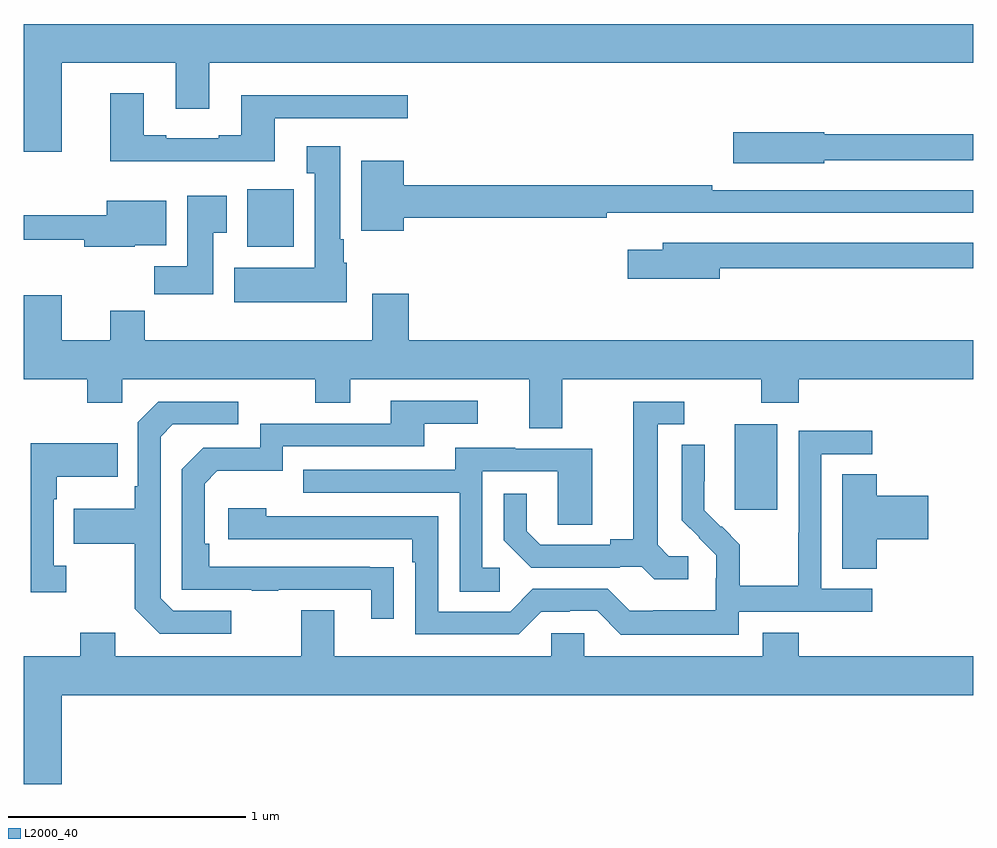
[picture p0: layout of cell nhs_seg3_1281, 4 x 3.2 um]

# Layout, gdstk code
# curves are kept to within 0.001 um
import gdstk
lib = gdstk.Library(unit=1e-6, precision=1e-09)
def R(c, l, rs):  # rectangles x0, y0, x1, y1
    for r in rs: c.add(gdstk.rectangle(r[:2], r[2:], *l))
def P(c, l, *ps):  # polygons
    for p in ps: c.add(gdstk.Polygon(p, *l))
L2000_40 = (2000, 40)

nhs_seg3_1281 = lib.new_cell('nhs_seg3_1281')
R(nhs_seg3_1281, L2000_40, [(179.996,717.681,180.175,718.042), (177.941,718.79,178.138,719.032)])
P(nhs_seg3_1281, L2000_40, [(177.16,719.564),(177.641,719.564),(177.641,719.37),(177.781,719.37),(177.781,719.564),(181,719.564),(181,719.728),(177,719.728),(177,719.19),(177.16,719.19)],
  [(178.057,719.331),(178.618,719.331),(178.618,719.428),(177.917,719.428),(177.917,719.26),(177.821,719.26),(177.821,719.247),(177.601,719.247),(177.601,719.26),(177.505,719.26),(177.505,719.437),(177.365,719.437),(177.365,719.15),(178.057,719.15)],
  [(180.372,719.154),(181,719.154),(181,719.263),(180.372,719.263),(180.372,719.271),(179.988,719.271),(179.988,719.141),(180.372,719.141)],
  [(178.36,718.722),(178.348,718.722),(178.348,718.822),(178.333,718.822),(178.333,719.212),(178.193,719.212),(178.193,719.099),(178.226,719.099),(178.226,718.702),(177.887,718.702),(177.887,718.556),(178.36,718.556)],
  [(178.6,718.912),(179.456,718.912),(179.456,718.932),(181,718.932),(181,719.028),(179.9,719.028),(179.9,719.048),(178.6,719.048),(178.6,719.152),(178.421,719.152),(178.421,718.856),(178.6,718.856)],
  [(177.799,718.849),(177.856,718.849),(177.856,719.005),(177.689,719.005),(177.689,718.708),(177.55,718.708),(177.55,718.59),(177.799,718.59)],
  [(177.468,718.796),(177.601,718.796),(177.601,718.984),(177.35,718.984),(177.35,718.922),(177,718.922),(177,718.819),(177.254,718.819),(177.254,718.79),(177.468,718.79)],
  [(179.932,718.698),(181,718.698),(181,718.806),(179.693,718.806),(179.693,718.777),(179.544,718.777),(179.544,718.655),(179.932,718.655)],
  [(179.269,718.232),(180.106,718.232),(180.106,718.133),(180.266,718.133),(180.266,718.232),(181,718.232),(181,718.396),(178.622,718.396),(178.622,718.591),(178.469,718.591),(178.469,718.396),(177.509,718.396),(177.509,718.52),(177.365,718.52),(177.365,718.396),(177.16,718.396),(177.16,718.585),(177,718.585),(177,718.232),(177.268,718.232),(177.268,718.133),(177.414,718.133),(177.414,718.232),(178.228,718.232),(178.228,718.133),(178.375,718.133),(178.375,718.232),(179.129,718.232),(179.129,718.024),(179.269,718.024)],
  [(178.559,717.44),(177.782,717.441),(177.782,717.538),(177.762,717.538),(177.762,717.792),(177.815,717.845),(178.092,717.845),(178.092,717.948),(178.687,717.948),(178.687,718.044),(178.912,718.044),(178.912,718.14),(178.547,718.14),(178.547,718.044),(177.996,718.044),(177.996,717.942),(177.756,717.942),(177.666,717.852),(177.666,717.345),(177.961,717.345),(177.961,717.34),(178.073,717.34),(178.073,717.345),(178.463,717.345),(178.463,717.222),(178.559,717.222)],
  [(177.874,717.255),(177.63,717.255),(177.576,717.309),(177.576,717.99),(177.627,718.041),(177.904,718.041),(177.904,718.137),(177.567,718.137),(177.48,718.05),(177.48,717.781),(177.468,717.781),(177.468,717.685),(177.211,717.685),(177.211,717.538),(177.468,717.538),(177.468,717.265),(177.573,717.159),(177.874,717.159)],
  [(179.8,717.486),(179.718,717.486),(179.671,717.533),(179.671,718.041),(179.782,718.041),(179.782,718.137),(179.567,718.137),(179.567,717.557),(179.471,717.557),(179.471,717.534),(179.176,717.534),(179.119,717.591),(179.119,717.748),(179.022,717.748),(179.022,717.554),(179.138,717.438),(179.51,717.438),(179.51,717.441),(179.604,717.441),(179.656,717.389),(179.8,717.389)],
  [(180.012,717.252),(180.574,717.252),(180.574,717.348),(180.36,717.348),(180.36,717.915),(180.574,717.915),(180.574,718.014),(180.264,718.014),(180.264,717.584),(180.262,717.584),(180.262,717.361),(180.017,717.361),(180.017,717.535),(179.94,717.612),(179.937,717.609),(179.867,717.68),(179.868,717.956),(179.772,717.956),(179.772,717.638),(179.918,717.49),(179.918,717.393),(179.916,717.393),(179.916,717.259),(179.653,717.259),(179.653,717.255),(179.553,717.255),(179.46,717.348),(179.145,717.348),(179.049,717.252),(178.746,717.252),(178.746,717.654),(178.022,717.654),(178.022,717.688),(177.861,717.688),(177.861,717.558),(178.637,717.558),(178.637,717.461),(178.65,717.461),(178.65,717.156),(179.085,717.156),(179.181,717.252),(179.3,717.252),(179.3,717.255),(179.415,717.255),(179.515,717.155),(180.012,717.155)],
  [(177.178,717.446),(177.126,717.446),(177.126,717.725),(177.139,717.725),(177.139,717.821),(177.395,717.821),(177.395,717.961),(177.029,717.961),(177.029,717.333),(177.178,717.333)],
  [(179.005,717.438),(178.932,717.438),(178.932,717.843),(179.25,717.843),(179.25,717.619),(179.395,717.619),(179.395,717.939),(179.071,717.939),(179.071,717.943),(178.817,717.943),(178.817,717.849),(178.177,717.849),(178.177,717.753),(178.836,717.753),(178.836,717.337),(179.005,717.337)],
  [(180.593,717.557),(180.811,717.557),(180.811,717.74),(180.593,717.74),(180.593,717.83),(180.449,717.83),(180.449,717.433),(180.593,717.433)],
  [(177,716.526),(177.16,716.526),(177.16,716.9),(181,716.9),(181,717.064),(180.266,717.064),(180.266,717.163),(180.113,717.163),(180.113,717.064),(179.361,717.064),(179.361,717.162),(179.223,717.162),(179.223,717.064),(178.309,717.064),(178.309,717.259),(178.169,717.259),(178.169,717.064),(177.385,717.064),(177.385,717.163),(177.238,717.163),(177.238,717.064),(177,717.064)])

lib.write_gds('nhs_seg3_1281.gds')
